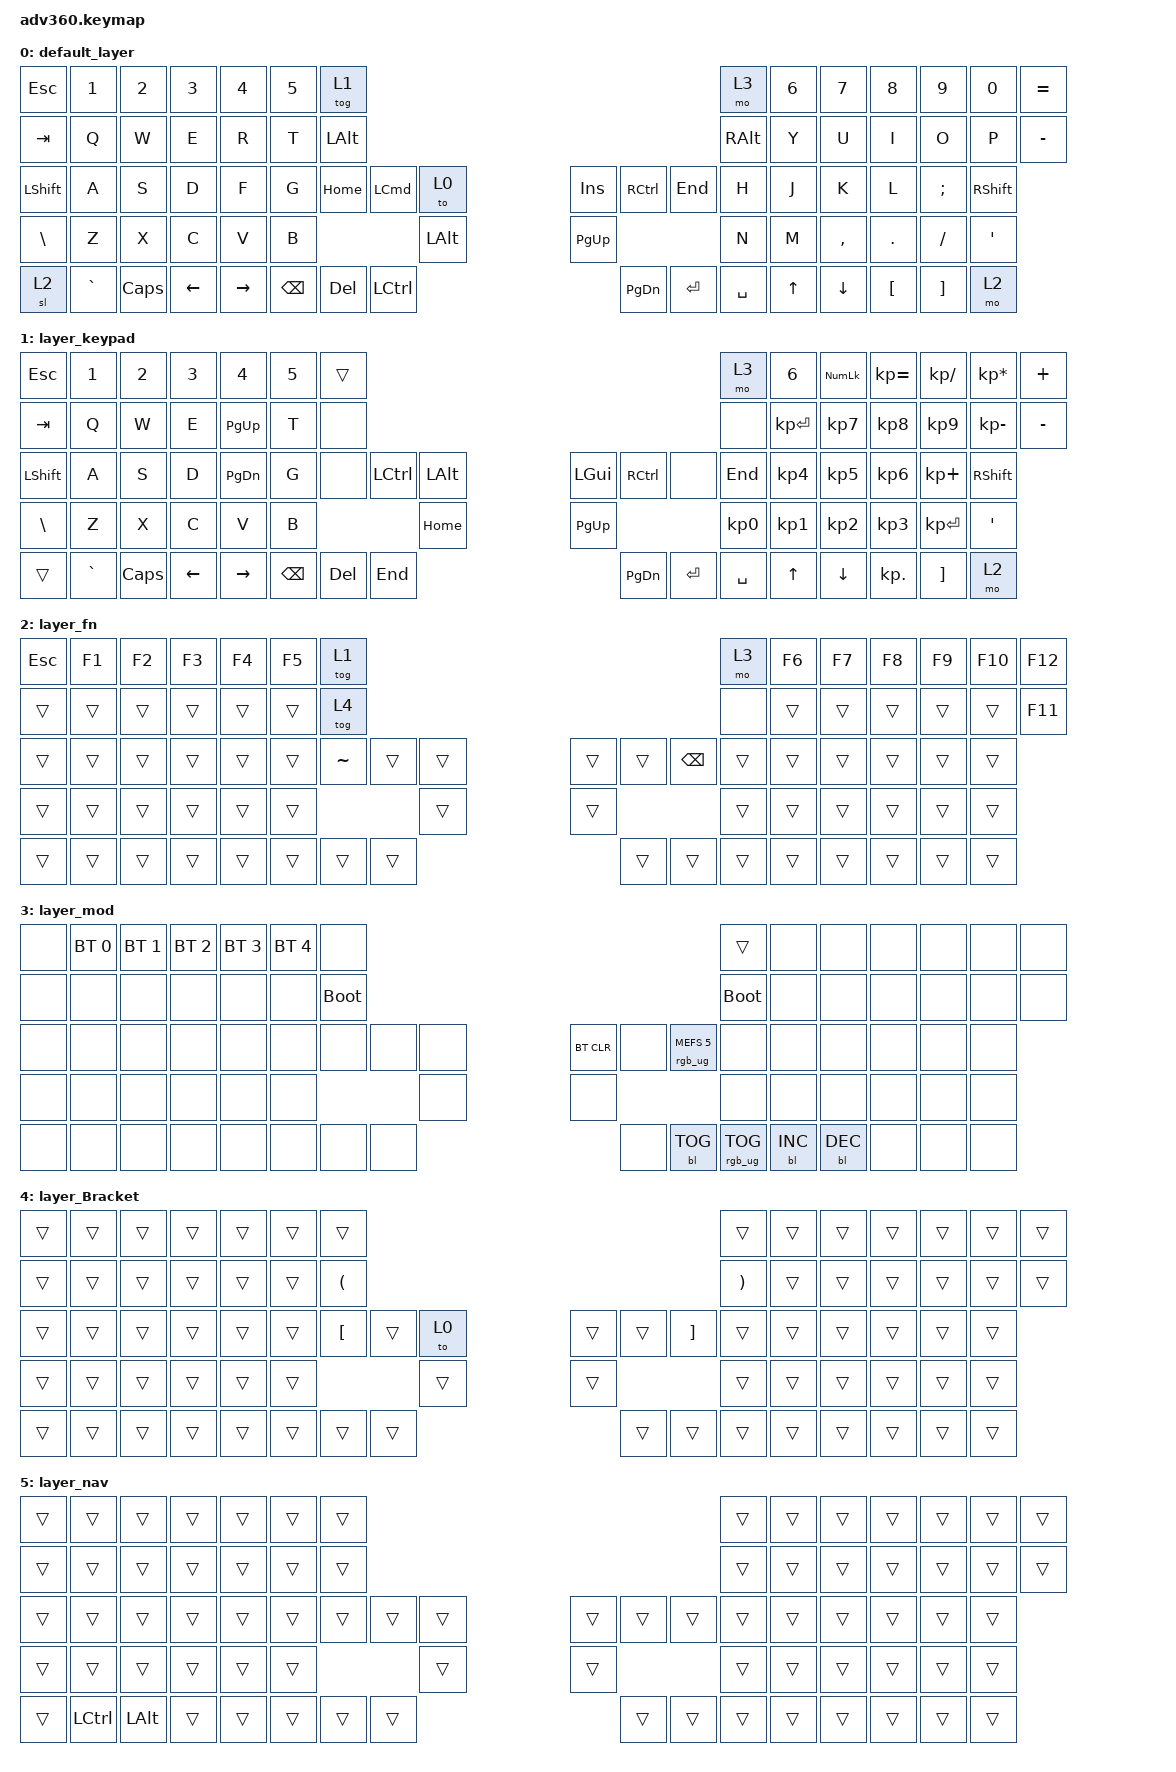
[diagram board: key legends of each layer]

/*
 * Copyright (c) 2020 The ZMK Contributors
 *
 * SPDX-License-Identifier: MIT
 */


/* THIS FILE WAS GENERATED!
 *
 * This file was generated automatically. You may or may not want to
 * edit it directly.
 */

#include <behaviors.dtsi>
#include <dt-bindings/zmk/keys.h>
#include <dt-bindings/zmk/bt.h>
#include <dt-bindings/zmk/rgb.h>
#include <dt-bindings/zmk/backlight.h>

/ {
  behaviors {
    #include "macros.dtsi"
    #include "version.dtsi"

    hm: homerow_mods {
        compatible = "zmk,behavior-hold-tap";
        label = "HOMEROW_MODS";
        #binding-cells = <2>;
        tapping-term-ms = <200>;
        quick_tap_ms = <175>;
        flavor = "tap-preferred";
        bindings = <&kp>, <&kp>;
    };
  };

    keymap {
        compatible = "zmk,keymap";


        default_layer {
            bindings = <
   &kp ESC     &kp N1    &kp N2    &kp N3     &kp N4  &kp N5                   &tog 1                                                                                    &mo 3  &kp N6  &kp N7     &kp N8    &kp N9    &kp N0         &kp EQUAL
   &kp TAB      &kp Q     &kp W     &kp E      &kp R   &kp T             &kp LEFT_ALT                                                                            &kp RIGHT_ALT   &kp Y   &kp U      &kp I     &kp O     &kp P         &kp MINUS
 &kp LSHFT      &kp A     &kp S     &kp D      &kp F   &kp G                 &kp HOME  &kp LEFT_COMMAND             &to 0                    &kp INS  &kp RCTRL        &kp END   &kp H   &kp J      &kp K     &kp L  &kp SEMI         &kp RSHFT
  &kp BSLH      &kp Z     &kp X     &kp C      &kp V   &kp B                                                 &kp LEFT_ALT                  &kp PG_UP                             &kp N   &kp M  &kp COMMA   &kp DOT  &kp FSLH  &kp SINGLE_QUOTE
     &sl 2  &kp GRAVE  &kp CAPS  &kp LEFT  &kp RIGHT                    &kp BACKSPACE           &kp DEL  &kp LEFT_CONTROL                  &kp PG_DN  &kp ENTER      &kp SPACE          &kp UP   &kp DOWN  &kp LBKT  &kp RBKT             &mo 2
            >;
        };

        layer_keypad {
            bindings = <
   &kp ESC     &kp N1    &kp N2    &kp N3     &kp N4  &kp N5              &trans                                                                 &mo 3        &kp N6  &kp KP_NUM  &kp KP_EQUAL  &kp KP_DIVIDE  &kp KP_MULTIPLY    &kp PLUS
   &kp TAB      &kp Q     &kp W     &kp E  &kp PG_UP   &kp T               &none                                                                 &none  &kp KP_ENTER   &kp KP_N7     &kp KP_N8      &kp KP_N9     &kp KP_MINUS   &kp MINUS
 &kp LSHFT      &kp A     &kp S     &kp D  &kp PG_DN   &kp G               &none  &kp LCTRL  &kp LALT                   &kp LGUI  &kp RCTRL      &none       &kp END   &kp KP_N4     &kp KP_N5      &kp KP_N6      &kp KP_PLUS  &kp RSHIFT
  &kp BSLH      &kp Z     &kp X     &kp C      &kp V   &kp B                                 &kp HOME                  &kp PG_UP                           &kp KP_N0   &kp KP_N1     &kp KP_N2      &kp KP_N3     &kp KP_ENTER     &kp SQT
    &trans  &kp GRAVE  &kp CAPS  &kp LEFT  &kp RIGHT                    &kp BSPC    &kp DEL   &kp END                  &kp PG_DN  &kp ENTER  &kp SPACE                    &kp UP      &kp DOWN     &kp KP_DOT         &kp RBKT       &mo 2
            >;
        };

        layer_fn {
            bindings = <
 &kp ESC  &kp F1  &kp F2  &kp F3  &kp F4  &kp F5               &tog 1                                                          &mo 3  &kp F6  &kp F7  &kp F8  &kp F9  &kp F10  &kp F12
  &trans  &trans  &trans  &trans  &trans  &trans               &tog 4                                                          &none  &trans  &trans  &trans  &trans   &trans  &kp F11
  &trans  &trans  &trans  &trans  &trans  &trans            &kp TILDE  &trans  &trans                  &trans  &trans  &kp BACKSPACE  &trans  &trans  &trans  &trans   &trans   &trans
  &trans  &trans  &trans  &trans  &trans  &trans                               &trans                  &trans                         &trans  &trans  &trans  &trans   &trans   &trans
  &trans  &trans  &trans  &trans  &trans                       &trans  &trans  &trans                  &trans  &trans         &trans          &trans  &trans  &trans   &trans   &trans
            >;
        };

        layer_mod {
            bindings = <
  &none  &bt BT_SEL 0  &bt BT_SEL 1  &bt BT_SEL 2  &bt BT_SEL 3  &bt BT_SEL 4                  &none                                                                          &trans   &none       &none       &none   &none   &none   &none
  &none         &none         &none         &none         &none         &none            &bootloader                                                                     &bootloader   &none       &none       &none   &none   &none   &none
  &none         &none         &none         &none         &none         &none                  &none   &none   &none                  &bt BT_CLR       &none  &rgb_ug RGB_MEFS_CMD 5   &none       &none       &none   &none   &none   &none
  &none         &none         &none         &none         &none         &none                                  &none                       &none                                       &none       &none       &none   &none   &none   &none
  &none         &none         &none         &none         &none                                &none   &none   &none                       &none  &bl BL_TOG         &rgb_ug RGB_TOG          &bl BL_INC  &bl BL_DEC   &none   &none   &none
            >;
        };

        layer_Bracket {
            bindings = <
 &trans  &trans  &trans  &trans  &trans  &trans                          &trans                                                                 &trans  &trans  &trans  &trans  &trans  &trans  &trans
 &trans  &trans  &trans  &trans  &trans  &trans            &kp LEFT_PARENTHESIS                                                  &kp RIGHT_PARENTHESIS  &trans  &trans  &trans  &trans  &trans  &trans
 &trans  &trans  &trans  &trans  &trans  &trans                &kp LEFT_BRACKET  &trans   &to 0                  &trans  &trans      &kp RIGHT_BRACKET  &trans  &trans  &trans  &trans  &trans  &trans
 &trans  &trans  &trans  &trans  &trans  &trans                                          &trans                  &trans                                 &trans  &trans  &trans  &trans  &trans  &trans
 &trans  &trans  &trans  &trans  &trans                                  &trans  &trans  &trans                  &trans  &trans                 &trans          &trans  &trans  &trans  &trans  &trans
            >;
        };

        layer_nav {
            bindings = <
 &trans            &trans        &trans  &trans  &trans  &trans            &trans                                                  &trans  &trans  &trans  &trans  &trans  &trans  &trans
 &trans            &trans        &trans  &trans  &trans  &trans            &trans                                                  &trans  &trans  &trans  &trans  &trans  &trans  &trans
 &trans            &trans        &trans  &trans  &trans  &trans            &trans  &trans  &trans                  &trans  &trans  &trans  &trans  &trans  &trans  &trans  &trans  &trans
 &trans            &trans        &trans  &trans  &trans  &trans                            &trans                  &trans                  &trans  &trans  &trans  &trans  &trans  &trans
 &trans  &kp LEFT_CONTROL  &kp LEFT_ALT  &trans  &trans                    &trans  &trans  &trans                  &trans  &trans  &trans          &trans  &trans  &trans  &trans  &trans
            >;
        };

    };
};
